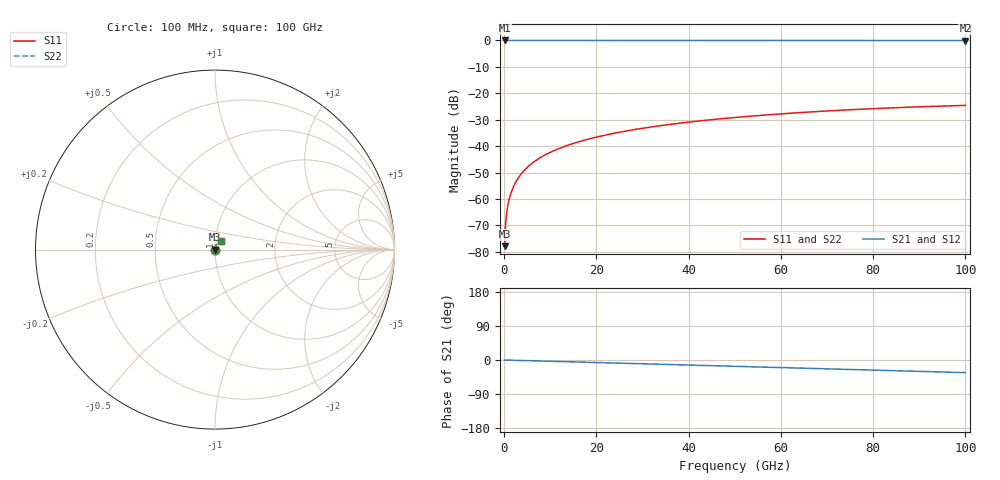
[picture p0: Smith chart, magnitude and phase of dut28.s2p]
! Touchstone file exported from HFSS 2026.1.0
!  File:  C:/ffzhzh/LocalFiles/Ansys_Project_Files/temp_train_TSV_28_1783504545_41296.aedt
!  Generated:  05:56:55 PM Jul  8, 2026
!  Design:  TSV
!  Project:  temp_train_TSV_28_1783504545_41296
! Variables:
!  h_bsmrdl = 2um
!  h_ox = 20um
!  h_rdl = 5um
!  h_sub = 60.39um
!  h_tmrdl = 5um
!  h_tsv = 60.39um
!  h_via = 3um
!  l_bsmrdl = 300um
!  l_sub = 425.28um
!  l_tmrdl = 200um
!  m_sub = 200um
!  pitch = 57.43um
!  r_tsv = 12.64um
!  s_tmrdl = 10um
!  w_bsmrdl = 18um
!  w_sub = 500um
!  w_tmrdl = 12um
!  x_tsv_center1 = 206um
!  x_tsv_center2 = 524um
!  x_tsv_center3 = 736um
!  x_tsv_center4 = 1054um
!  x_tsv_center5 = 1266um
!  x_tsv_center6 = 1584um
# GHz S MA R 50.000000
! Terminal data exported
! Port[1] = TSV1_1_T1
! Port[2] = TSV1_1_T2
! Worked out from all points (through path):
!   1000 points, 100 MHz to 100 GHz, reference 50 ohm
!   highest |S21| = 0.00 dB at 100 MHz (marker M1); lowest = 0.0 dB at 100 GHz (marker M2)
!   group delay of S21, straight-line fit = 925 fs
!   lowest |S11| = -77.8 dB at 100 MHz (marker M3), VSWR 1.00, Z = 50 + j0.0106 ohm
!   |S11| at or under -10 dB: start of sweep to end of sweep
!   |S22| runs from -77.8 to -24.6 dB; largest |S21 - S12| = 2.1e-15
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0.1  0.0001282 55.4  0.9999 -0.0  0.9999 -0.0  0.0001282 55.4
! Gamma 0 0 0 0
! Port Impedance 50 0 50 0
0.3  0.0003205 72.2  0.9999 -0.1  0.9999 -0.1  0.0003205 72.2
0.7  0.0006708 76.2  0.9998 -0.2  0.9998 -0.2  0.0006708 76.2
0.8  0.0007522 76.7  0.9998 -0.3  0.9998 -0.3  0.0007522 76.7
1  0.0009123 77.6  0.9998 -0.3  0.9998 -0.3  0.0009123 77.6
1.3  0.001149 78.8  0.9998 -0.4  0.9998 -0.4  0.001149 78.8
1.8  0.001541 80.0  0.9997 -0.6  0.9997 -0.6  0.001541 80.0
2.3  0.001928 80.8  0.9997 -0.8  0.9997 -0.8  0.001928 80.8
3  0.002464 81.4  0.9997 -1.0  0.9997 -1.0  0.002464 81.4
3.8  0.003069 81.8  0.9996 -1.3  0.9996 -1.3  0.003069 81.8
4.8  0.003817 82.2  0.9996 -1.6  0.9996 -1.6  0.003817 82.2
6  0.004708 82.4  0.9995 -2.0  0.9995 -2.0  0.004708 82.4
8.8  0.00677 82.3  0.9994 -2.9  0.9994 -2.9  0.00677 82.3
12.4  0.009392 81.7  0.9993 -4.1  0.9993 -4.1  0.009392 81.7
16.8  0.01255 80.8  0.9991 -5.6  0.9991 -5.6  0.01255 80.8
24.2  0.01778 78.9  0.9989 -8.1  0.9989 -8.1  0.01778 78.9
33.4  0.02411 76.3  0.9986 -11.1  0.9986 -11.1  0.02412 76.3
41.2  0.02929 73.9  0.9983 -13.7  0.9983 -13.7  0.02929 73.9
50.1  0.03494 71.2  0.998 -16.7  0.998 -16.7  0.03494 71.2
66.7  0.04457 65.9  0.9974 -22.2  0.9974 -22.2  0.04457 65.9
83.4  0.05279 60.6  0.9968 -27.8  0.9968 -27.8  0.0528 60.5
100  0.05905 55.2  0.9961 -33.3  0.9961 -33.3  0.05905 55.2
